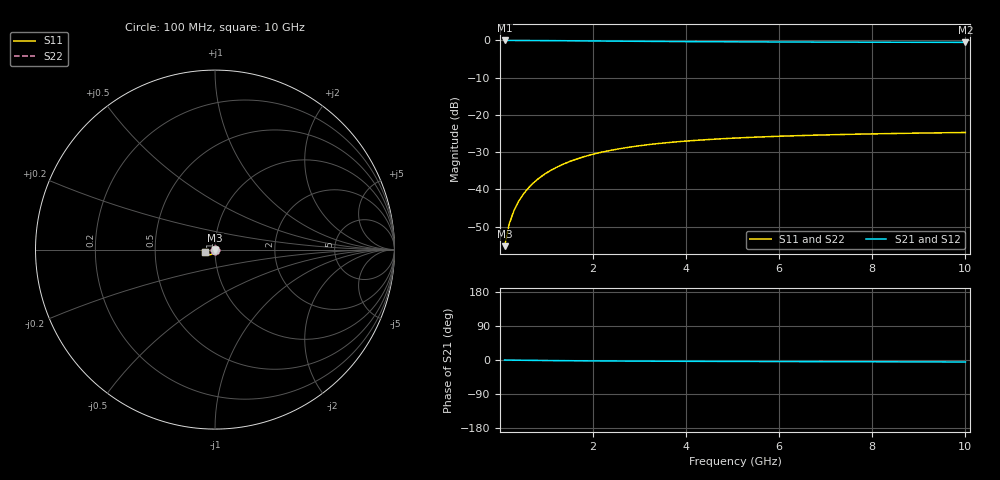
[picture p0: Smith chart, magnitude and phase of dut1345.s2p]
! Touchstone file exported from HFSS 2024.1.0
!  File:  C:/UserFiles/LocalFiles/RDL_TSV_Batchsim/temp_TSV1_1345_1780376734.aedt
!  Generated:  01:11:42 PM Jun  2, 2026
!  Design:  TSV1
!  Project:  temp_TSV1_1345_1780376734
!  Setup:  Setup1
!  Solution:  Sweep
! Variables:
!  dtsv = 13.82um
!  hbump = 3um
!  htsv = 80.29um
!  lrdl = 252.1521522um
!  p = 40
!  p1 = 52.25um
!  t = 500um
!  trdl = 3um
!  wrdl = 24.89489489um
# GHz S MA R 50.000000
! Terminal data exported
! Port[1] = TSV22_T1
! Port[2] = TSV22_T2
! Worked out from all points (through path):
!   100 points, 100 MHz to 10 GHz, reference 50 ohm
!   highest |S21| = 0.00 dB at 100 MHz (marker M1); lowest = -0.5 dB at 10 GHz (marker M2)
!   lowest |S11| = -55.3 dB at 100 MHz (marker M3), VSWR 1.00, Z = 50 - j0.173 ohm
!   |S11| at or under -10 dB: start of sweep to end of sweep
!   |S22| runs from -55.3 to -24.7 dB; largest |S21 - S12| = 5.3e-15
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0.1  0.001726 -89.0  0.9999 -0.1  0.9999 -0.1  0.001726 -89.0
! Gamma 0 0 0 0
! Port Impedance 50 0 50 0
0.2  0.003449 -92.0  0.9997 -0.3  0.9997 -0.3  0.003449 -92.0
0.3  0.00517 -94.2  0.9994 -0.4  0.9994 -0.4  0.00517 -94.2
0.4  0.006881 -96.2  0.999 -0.6  0.999 -0.6  0.006881 -96.2
0.5  0.008575 -98.1  0.9985 -0.7  0.9985 -0.7  0.008575 -98.1
0.6  0.01025 -100.0  0.9979 -0.9  0.9979 -0.9  0.01025 -100.0
0.7  0.01189 -101.8  0.9973 -1.0  0.9973 -1.0  0.01189 -101.8
0.8  0.0135 -103.6  0.9966 -1.1  0.9966 -1.1  0.0135 -103.6
0.9  0.01508 -105.3  0.9958 -1.2  0.9958 -1.2  0.01508 -105.3
1.1  0.01811 -108.7  0.994 -1.5  0.994 -1.5  0.01811 -108.7
1.4  0.02235 -113.4  0.991 -1.8  0.991 -1.8  0.02235 -113.4
1.6  0.02495 -116.4  0.9888 -2.0  0.9888 -2.0  0.02495 -116.4
1.8  0.02738 -119.2  0.9866 -2.2  0.9866 -2.2  0.02738 -119.2
2.1  0.03068 -123.1  0.9832 -2.4  0.9832 -2.4  0.03068 -123.1
2.5  0.03452 -127.9  0.9789 -2.7  0.9789 -2.7  0.03452 -127.9
2.9  0.03779 -132.1  0.9748 -2.9  0.9748 -2.9  0.03779 -132.1
3.4  0.0412 -136.8  0.9702 -3.2  0.9702 -3.2  0.0412 -136.8
4.2  0.04546 -143.0  0.964 -3.5  0.964 -3.5  0.04546 -143.0
5.1  0.049 -148.6  0.9584 -3.8  0.9584 -3.8  0.049 -148.6
6.7  0.05328 -156.4  0.9513 -4.3  0.9513 -4.3  0.05328 -156.4
8.4  0.05618 -162.6  0.9462 -4.8  0.9462 -4.8  0.05618 -162.6
10  0.05804 -167.3  0.943 -5.3  0.943 -5.3  0.05804 -167.3
